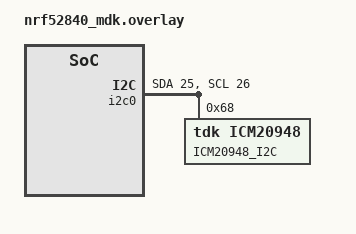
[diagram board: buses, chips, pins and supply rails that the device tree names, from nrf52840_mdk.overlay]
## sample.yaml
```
#
# Copyright (c) 2018 Miras Absar
#
# SPDX-License-Identifier: Apache-2.0
#
---
sample:
  name: LS013B7DH05 Display Sample
tests:
  test:
    build_only: true
    platform_whitelist: nrf52840_mdk
    depends_on: spi gpio
    tags: drivers samples display
...
```

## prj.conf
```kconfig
#
# Copyright (c) 2018 Miras Absar
#
# SPDX-License-Identifier: Apache-2.0
#

CONFIG_I2C=y
CONFIG_I2C_0=y
CONFIG_I2C_NRFX=y

CONFIG_GPIO=y

CONFIG_SENSOR=y
CONFIG_ICM20948_I2C=y

CONFIG_LOG=y
CONFIG_LOG_DEFAULT_LEVEL=4
CONFIG_DISPLAY_LOG_LEVEL_DBG=y
```

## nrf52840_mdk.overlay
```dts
/*
 * Copyright (c) 2018 Miras Absar
 *
 * SPDX-License-Identifier: Apache-2.0
 */

// &spi0 {
// 	status = "ok";
// 	sck-pin = <21>;
// 	mosi-pin = <17>;
// 	miso-pin = <16>;

// 	ls013b7dh05@0 {
// 		compatible = "sharp,ls013b7dh05";
// 		reg = <17>;
// 		spi-max-frequency = <1000000>;
// 		label = "LS013B7DH05";
// 		scs-gpios = <&gpio0 15 0>;
// 	};
// };

&i2c0 {
	status = "ok";
	sda-pin = <25>;
	scl-pin = <26>;

	icm20948_i2c@68 {
		compatible = "tdk,icm20948";
		reg = <0x68>;
		label = "ICM20948_I2C";
	};
};
```

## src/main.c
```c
/*
 * Copyright (c) 2018 Miras Absar
 *
 * SPDX-License-Identifier: Apache-2.0
 */

#define LOG_LEVEL CONFIG_LOG_DEFAULT_LEVEL
#include <logging/log.h>
LOG_MODULE_REGISTER(main);

void main(void)
{
	LOG_DBG("MAIN");
}
```
